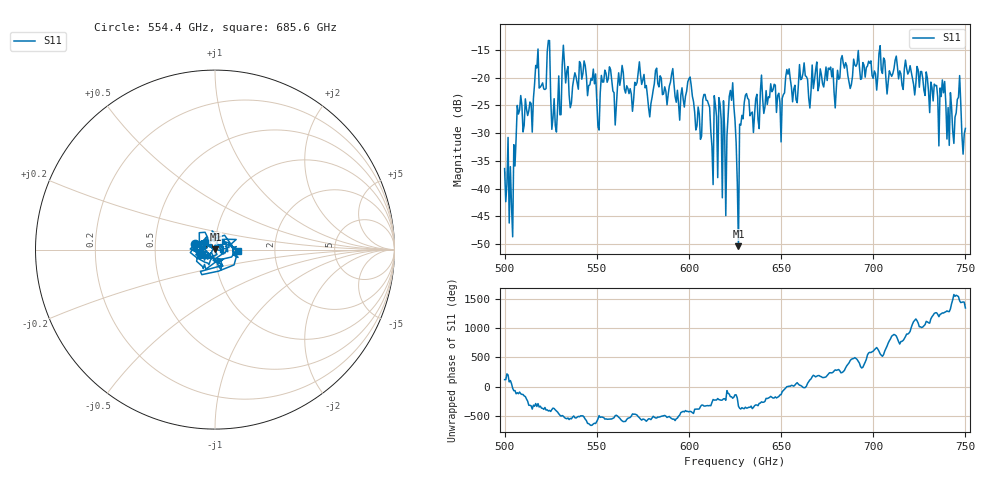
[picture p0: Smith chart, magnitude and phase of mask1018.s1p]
!Created with skrf (http://scikit-rf.org).
# GHz S MA R 50.0
!freq magS11 angS11
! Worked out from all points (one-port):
!   401 points, 500 GHz to 750 GHz, reference 50 ohm
!   lowest |S11| = -50.4 dB at 626.9 GHz (marker M1), VSWR 1.01, Z = 50.3 + j0.129 ohm
!   |S11| at or under -10 dB: start of sweep to end of sweep
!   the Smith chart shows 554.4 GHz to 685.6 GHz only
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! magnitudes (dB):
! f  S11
! 500 GHz  -36.4
! 503.8 GHz  -43.1
! 508.1 GHz  -25.9
! 513.8 GHz  -24.4
! 517.5 GHz  -18.3
! 523.8 GHz  -13.3
! 526.9 GHz  -23.8
! 531.2 GHz  -17.8
! 541.9 GHz  -20.3
! 551.2 GHz  -29.4
! 553.8 GHz  -20.8
! 562.5 GHz  -21.4
! 593.8 GHz  -22.3
! 600.6 GHz  -19.9
! 605.6 GHz  -26.6
! 609.4 GHz  -24.1
! 619.4 GHz  -29.5
! 622.5 GHz  -22.3
! 625 GHz  -27.7
! 626.9 GHz  -50.4
! 631.2 GHz  -22.9
! 656.2 GHz  -24.4
! 687.5 GHz  -22.0
! 718.8 GHz  -19.4
! 737.5 GHz  -20.4
! 742.5 GHz  -25.3
! 746.2 GHz  -23.6
! 750 GHz  -29.2
